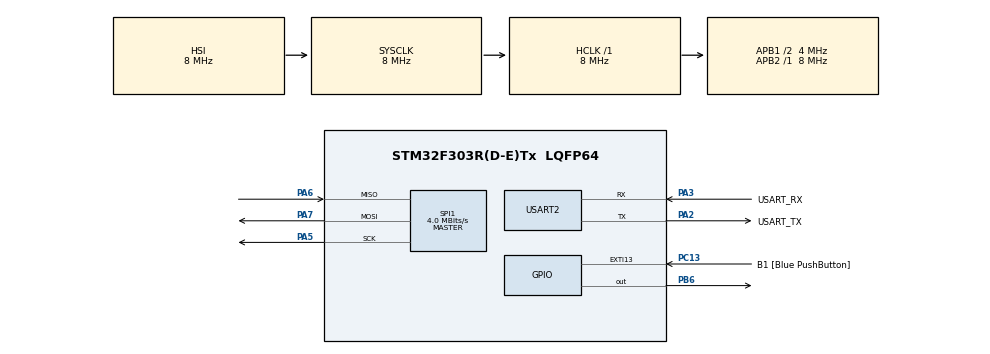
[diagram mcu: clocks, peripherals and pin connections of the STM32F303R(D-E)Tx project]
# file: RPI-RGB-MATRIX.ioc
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Mcu.Family=STM32F3
Mcu.Name=STM32F303R(D-E)Tx
Mcu.Package=LQFP64
NVIC.PriorityGroup=NVIC_PRIORITYGROUP_0
PA13.GPIO_Label=TMS
PA13.Mode=Serial_Wire
PA13.Signal=SYS_JTMS-SWDIO
PA14.GPIO_Label=TCK
PA14.Mode=Serial_Wire
PA14.Signal=SYS_JTCK-SWCLK
PA2.GPIO_Label=USART_TX
PA2.GPIO_Mode=GPIO_MODE_AF_PP
PA2.GPIO_PuPd=GPIO_NOPULL
PA2.GPIO_Speed=GPIO_SPEED_FREQ_LOW
PA2.Mode=Asynchronous
PA2.Signal=USART2_TX
PA3.GPIO_Label=USART_RX
PA3.GPIO_Mode=GPIO_MODE_AF_PP
PA3.GPIO_PuPd=GPIO_NOPULL
PA3.GPIO_Speed=GPIO_SPEED_FREQ_LOW
PA3.Mode=Asynchronous
PA3.Signal=USART2_RX
PA5.Mode=Full_Duplex_Master
PA5.Signal=SPI1_SCK
PA6.Mode=Full_Duplex_Master
PA6.Signal=SPI1_MISO
PA7.Mode=Full_Duplex_Master
PA7.Signal=SPI1_MOSI
PB3.GPIO_Label=SWO
PB3.Signal=SYS_JTDO-TRACESWO
PB6.Signal=GPIO_Output
PC13.GPIO_Label=B1 [Blue PushButton]
PC13.GPIO_ModeDefaultEXTI=GPIO_MODE_IT_FALLING
PC13.Signal=GPXTI13
PC14-OSC32_IN.Mode=LSE-External-Oscillator
PC14-OSC32_IN.Signal=RCC_OSC32_IN
PC15-OSC32_OUT.Mode=LSE-External-Oscillator
PC15-OSC32_OUT.Signal=RCC_OSC32_OUT
PF0-OSC_IN.Mode=HSE-External-Clock-Source
PF0-OSC_IN.Signal=RCC_OSC_IN
PF1-OSC_OUT.Signal=RCC_OSC_OUT
ProjectManager.HeapSize=0x200
ProjectManager.StackSize=0x400
ProjectManager.TargetToolchain=SW4STM32
RCC.AHBFreq_Value=8000000
RCC.APB1CLKDivider=RCC_HCLK_DIV2
RCC.APB1Freq_Value=4000000
RCC.APB1TimFreq_Value=8000000
RCC.APB2Freq_Value=8000000
RCC.APB2TimFreq_Value=8000000
RCC.CortexFreq_Value=8000000
RCC.HCLKFreq_Value=8000000
RCC.HSE_VALUE=8000000
RCC.HSI_VALUE=8000000
RCC.PLLM=8
RCC.PLLMUL=RCC_PLL_MUL9
RCC.PLLN=336
RCC.PLLP=RCC_PLLP_DIV4
RCC.PLLQ=7
RCC.RCC_PLLsource_Clock_Source_FROM_HSE=RCC_HSE_PREDIV_DIV2
RCC.SYSCLKFreq_VALUE=8000000
RCC.USBFreq_Value=72000000
SPI1.BaudRatePrescaler=SPI_BAUDRATEPRESCALER_2
SPI1.CalculateBaudRate=4.0 MBits/s
SPI1.DataSize=SPI_DATASIZE_8BIT
SPI1.Direction=SPI_DIRECTION_2LINES
SPI1.Mode=SPI_MODE_MASTER
SPI1.VirtualType=VM_MASTER
USART2.VirtualMode-Asynchronous=VM_ASYNC
board=NUCLEO-F303RE

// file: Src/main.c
/* USER CODE BEGIN Header */
/**
  ******************************************************************************
  * @file           : main.c
  * @brief          : Main program body
  ******************************************************************************
  * @attention
  *
  * <h2><center>&copy; Copyright (c) 2019 STMicroelectronics.
  * All rights reserved.</center></h2>
  *
  * This software component is licensed by ST under BSD 3-Clause license,
  * the "License"; You may not use this file except in compliance with the
  * License. You may obtain a copy of the License at:
  *                        opensource.org/licenses/BSD-3-Clause
  *
  ******************************************************************************
  */
/* USER CODE END Header */

#include "main.h"

SPI_HandleTypeDef hspi1;

UART_HandleTypeDef huart2;

void SystemClock_Config(void);
static void MX_GPIO_Init(void);
static void MX_SPI1_Init(void);
static void MX_USART2_UART_Init(void);

/* USER CODE BEGIN 0 */
unsigned char A[] = {0b10001000,0b10001000,0b10001000,0b10001000,0b11111000,0b10001000,0b10001000,0b01110000};
unsigned char B[] = {0b11111000,0b10001000,0b10001000,0b10001000,0b11110000,0b10001000,0b10001000,0b01111000};
unsigned char C[] = {0b01111000,0b10000000,0b10000000,0b10000000,0b10000000,0b10000000,0b10000000,0b01111000};
unsigned char D[] = {0b11110000,0b10001000,0b10001000,0b10001000,0b10001000,0b10001000,0b10001000,0b11110000};
unsigned char E[] = {0b11111000,0b10000000,0b10000000,0b10000000,0b11110000,0b10000000,0b10000000,0b11111000};
unsigned char F[] = {0b10000000,0b10000000,0b10000000,0b10000000,0b11110000,0b10000000,0b10000000,0b11111000};
unsigned char G[] = {0b01110000,0b10001000,0b10001000,0b10001000,0b10110000,0b10000000,0b10000000,0b01111000};
unsigned char H[] = {0b10001000,0b10001000,0b10001000,0b10001000,0b11111000,0b10001000,0b10001000,0b10001000};
unsigned char I[] = {0b11111000,0b00100000,0b00100000,0b00100000,0b00100000,0b00100000,0b00100000,0b11111000};
unsigned char J[] = {0b11100000,0b00010000,0b00010000,0b00010000,0b00010000,0b00010000,0b00010000,0b00111000};
unsigned char K[] = {0b10001000,0b10010000,0b10100000,0b11000000,0b11000000,0b10100000,0b10010000,0b10001000};
unsigned char L[] = {0b11111000,0b10000000,0b10000000,0b10000000,0b10000000,0b10000000,0b10000000,0b10000000};
unsigned char M[] = {0b10001000,0b10001000,0b10001000,0b10001000,0b10101000,0b10101000,0b11011000,0b10001000};
unsigned char N[] = {0b10001000,0b10001000,0b10001000,0b10001000,0b10011000,0b10101000,0b11001000,0b10001000};
unsigned char O[] = {0b01110000,0b10001000,0b10001000,0b10001000,0b10001000,0b10001000,0b10001000,0b01110000};
unsigned char P[] = {0b10000000,0b10000000,0b10000000,0b10000000,0b11110000,0b10001000,0b10001000,0b11110000};
unsigned char Q[] = {0b00001000,0b01110000,0b10001000,0b10001000,0b10001000,0b10001000,0b10001000,0b01110000};
unsigned char R[] = {0b10001000,0b10010000,0b10100000,0b11000000,0b11110000,0b10010000,0b10010000,0b11110000};
unsigned char S[] = {0b01110000,0b10001000,0b00001000,0b00001000,0b01110000,0b10000000,0b10001000,0b01110000};
unsigned char T[] = {0b00100000,0b00100000,0b00100000,0b00100000,0b00100000,0b00100000,0b00100000,0b11111000};
unsigned char U[] = {0b01110000,0b10001000,0b10001000,0b10001000,0b10001000,0b10001000,0b10001000,0b10001000};
unsigned char V[] = {0b00100000,0b01010000,0b10001000,0b10001000,0b10001000,0b10001000,0b10001000,0b10001000};
unsigned char W[] = {0b01010000,0b10101000,0b10101000,0b10001000,0b10001000,0b10001000,0b10001000,0b10001000};
unsigned char X[] = {0b00000000,0b00000000,0b10001000,0b01010000,0b00100000,0b01010000,0b10001000,0b00000000};
unsigned char Y[] = {0b01110000,0b10001000,0b00001000,0b00001000,0b01111000,0b10001000,0b10001000,0b10001000};
unsigned char Z[] = {0b11111000,0b10000000,0b10000000,0b01000000,0b00100000,0b00010000,0b00001000,0b11111000};
unsigned char ONE[] = {0b11111000,0b00100000,0b00100000,0b00100000,0b00100000,0b10100000,0b01100000,0b00100000};
unsigned char TWO[] = {0b11111000,0b10000000,0b01000000,0b00100000,0b00010000,0b00001000,0b10001000,0b01110000};
unsigned char THREE[] = {0b01110000,0b10001000,0b00001000,0b00001000,0b01110000,0b00001000,0b10001000,0b01110000};
unsigned char FOUR[] = {0b00010000,0b00010000,0b00010000,0b11111000,0b10010000,0b01010000,0b00110000,0b00010000};
unsigned char FIVE[] = {0b01110000,0b10001000,0b00001000,0b00001000,0b11110000,0b10000000,0b10000000,0b11111000};
unsigned char SIX[] = {0b01110000,0b10001000,0b10001000,0b10001000,0b11110000,0b10000000,0b10001000,0b01110000};
unsigned char SEVEN[] = {0b00100000,0b00100000,0b00100000,0b00100000,0b00100000,0b00010000,0b00001000,0b11111000};
unsigned char EIGHT[] = {0b01110000,0b10001000,0b10001000,0b10001000,0b01110000,0b10001000,0b10001000,0b01110000};
unsigned char NINE[] = {0b01110000,0b10001000,0b00001000,0b01111000,0b10001000,0b10001000,0b10001000,0b01110000};
unsigned char ZERO[] = {0b01110000,0b10001000,0b10001000,0b10001000,0b11001000,0b10101000,0b10011000,0b01110000};
unsigned char SMILE[] = {0b01110000,0b10001000,0b10001000,0b00100000,0b00100000,0b0000000,0b01010000,0b00000000};
unsigned char EYELEFT[] = {0b00000000,0b00000000,0b00010000,0b00110000,0b00110000,0b00110000,0b00000000,0b00000000};
unsigned char EYELEFTUP[] = {0b00000000,0b00000000,0b00000000,0b00010000,0b00110000,0b00110000,0b00110000,0b00000000};
unsigned char EYERIGHTUP[] = {0b00000000,0b00000000,0b00000000,0b00100000,0b01100000,0b01100000,0b01100000,0b00000000};
unsigned char EYERIGHT[] = {0b00000000,0b00000000,0b00100000,0b01100000,0b01100000,0b01100000,0b00000000,0b00000000};
unsigned char EYERIGHTDOWN[] = {0b00000000,0b00100000,0b01100000,0b01100000,0b01100000,0b00000000,0b00000000,0b00000000};
unsigned char EYELEFTDOWN[] = {0b00000000,0b00010000,0b00110000,0b00110000,0b00110000,0b00000000,0b00000000,0b00000000};
unsigned char TREE[] = {0b00011000,0b00011000,0b00011000,0b00011000,0b11111111,0b01111110,0b00111100,0b00011000};
unsigned char BIGHART[] = {0b00011000,0b00111100,0b011111110,0b11111111,0b11111111,0b11111111,0b01100110,0b00000000};
unsigned char MIDHART[] = {0b00000000,0b00011000,0b01111110,0b01111110,0b01111110,0b00100100,0b00000000,0b00000000};
unsigned char MIDSMALLHART[] = {0b00000000,0b00000000,0b00011000,0b00111100,0b00111100,0b00100100,0b00000000,0b00000000};
unsigned char SMALLHART[] = {0b00000000,0b00000000,0b00000000,0b00011000,0b00011000,0b00000000,0b00000000,0b00000000};
unsigned char *Alphabet[] = {A, B, C, D, E, F, G, H, I, J, K, L, M, N, O, P, Q, R, S, T, U, V, W, X, Y, Z};
unsigned char *Numeric[] = {ZERO, ONE,TWO, THREE, FOUR, FIVE, SIX, SEVEN, EIGHT, NINE};
unsigned char AlphabetCharactersLower[] = {'a', 'b', 'c', 'd', 'e', 'f', 'g', 'h', 'i', 'j', 'k', 'l', 'm', 'n', 'o', 'p', 'q', 'r', 's', 't', 'u', 'v', 'w', 'x', 'y', 'z'};
void WriteWord(char* Word[],int arrSize);
void tree();
void EYE();
void HARTBIT();
void Write2Word(char* Word[],char* Word2[],int arrSize);
static uint8_t data[4] = {0x0, 0x0, 0x0, 0x0};  // defined a data matrix

/* USER CODE END 0 */

int main(void)
{

  /* MCU Configuration--------------------------------------------------------*/

  /* Reset of all peripherals, Initializes the Flash interface and the Systick. */
  HAL_Init();

  /* Configure the system clock */
  SystemClock_Config();

  /* Initialize all configured peripherals */
  MX_GPIO_Init();
  MX_SPI1_Init();
  MX_USART2_UART_Init();

  /* Infinite loop */
  while (1)
  {
	  unsigned char* w[10] = {N,Y,TWO,ZERO};
	  //unsigned char* w2[10] = {EYELEFT,EYELEFTUP,EYERIGHTUP,EYERIGHT,EYERIGHTDOWN,EYELEFTDOWN};
	  HARTBIT();
  }
}
void EYE()
{
	unsigned char* w[10] = {O,O,O,O,O,O};
	unsigned char* w2[10] = {EYELEFT,EYELEFTUP,EYERIGHTUP,EYERIGHT,EYERIGHTDOWN,EYELEFTDOWN};
	for(int j=0;j<6;j++)
	  {
	    for(int z=0;z<500;z++)
	    {
	      for (int i = 0; i < 8; i++)
	      {

	          data[0] =~0;
	          data[1] =~w[j][i];        // color blue
	          data[2] =~w2[j][i];

	        data[3] = 0x1<<i;
	        HAL_GPIO_WritePin(GPIOB, GPIO_PIN_6, GPIO_PIN_RESET);
	              HAL_SPI_Transmit(&hspi1,&data[0],1,10);
	              HAL_SPI_Transmit(&hspi1,&data[1],1,10);
	              HAL_SPI_Transmit(&hspi1,&data[2],1,10);
	              HAL_SPI_Transmit(&hspi1,&data[3],1,10);
	              HAL_GPIO_WritePin(GPIOB, GPIO_PIN_6, GPIO_PIN_SET);
	        //delay(100);
	      }
	    }
	  }
}
void Write2Word(char* Word[],char* Word2[],int arrSize)
{
  for(int j=0;j<arrSize;j++)
  {
    for(int z=0;z<500;z++)
    {
      for (int i = 0; i < 8; i++)
      {

          data[0] =~0;
          data[1] =~Word[j][i];        // color blue
          data[2] =~Word2[j][i];

        data[3] = 0x1<<i;
        HAL_GPIO_WritePin(GPIOB, GPIO_PIN_6, GPIO_PIN_RESET);
              HAL_SPI_Transmit(&hspi1,&data[0],1,10);
              HAL_SPI_Transmit(&hspi1,&data[1],1,10);
              HAL_SPI_Transmit(&hspi1,&data[2],1,10);
              HAL_SPI_Transmit(&hspi1,&data[3],1,10);
              HAL_GPIO_WritePin(GPIOB, GPIO_PIN_6, GPIO_PIN_SET);
        //delay(100);
      }
    }
  }
}
void HARTBIT()
{
	unsigned char* w[10] = {SMALLHART,MIDSMALLHART,MIDHART,BIGHART};
  for(int j=0;j<4;j++)
  {

	  for(int z=0;z<300;z++)
	     {
      for (int i = 0; i < 8; i++)
      {

          data[0] =~w[j][i];
          data[1] =~0;        // color blue
          data[2] =~0;

        data[3] = 0x1<<i;
        HAL_GPIO_WritePin(GPIOB, GPIO_PIN_6, GPIO_PIN_RESET);
        HAL_SPI_Transmit(&hspi1,&data[0],1,10);
        HAL_SPI_Transmit(&hspi1,&data[1],1,10);
        HAL_SPI_Transmit(&hspi1,&data[2],1,10);
        HAL_SPI_Transmit(&hspi1,&data[3],1,10);
        HAL_GPIO_WritePin(GPIOB, GPIO_PIN_6, GPIO_PIN_SET);
        //delay(100);
      }
	     }
  }
}
void tree()
{
	unsigned char* w[10] = {TREE};
  for(int j=0;j<1;j++)
  {

      for (int i = 0; i < 8; i++)
      {

          data[0] =~0;
          data[1] =~0;        // color blue
          data[2] =~w[j][i];

        data[3] = 0x1<<i;
        HAL_GPIO_WritePin(GPIOB, GPIO_PIN_6, GPIO_PIN_RESET);
        HAL_SPI_Transmit(&hspi1,&data[0],1,10);
        HAL_SPI_Transmit(&hspi1,&data[1],1,10);
        HAL_SPI_Transmit(&hspi1,&data[2],1,10);
        HAL_SPI_Transmit(&hspi1,&data[3],1,10);
        HAL_GPIO_WritePin(GPIOB, GPIO_PIN_6, GPIO_PIN_SET);
        //delay(100);
      }

  }
}
void WriteWord(char* Word[],int arrSize)
{
  for(int j=0;j<arrSize;j++)
  {
    for(int z=0;z<500;z++)
    {
      for (int i = 0; i < 8; i++)
      {

          data[0] =~0;
          data[1] =~Word[j][i];        // color blue
          data[2] =~0;

        data[3] = 0x1<<i;
        HAL_GPIO_WritePin(GPIOB, GPIO_PIN_6, GPIO_PIN_RESET);
        HAL_SPI_Transmit(&hspi1,&data[0],1,10);
        HAL_SPI_Transmit(&hspi1,&data[1],1,10);
        HAL_SPI_Transmit(&hspi1,&data[2],1,10);
        HAL_SPI_Transmit(&hspi1,&data[3],1,10);
        HAL_GPIO_WritePin(GPIOB, GPIO_PIN_6, GPIO_PIN_SET);
        //delay(100);
      }
    }
  }
}
void SystemClock_Config(void)
{
  RCC_OscInitTypeDef RCC_OscInitStruct = {0};
  RCC_ClkInitTypeDef RCC_ClkInitStruct = {0};
  RCC_PeriphCLKInitTypeDef PeriphClkInit = {0};

  /** Initializes the CPU, AHB and APB busses clocks
  */
  RCC_OscInitStruct.OscillatorType = RCC_OSCILLATORTYPE_HSI;
  RCC_OscInitStruct.HSIState = RCC_HSI_ON;
  RCC_OscInitStruct.HSICalibrationValue = RCC_HSICALIBRATION_DEFAULT;
  RCC_OscInitStruct.PLL.PLLState = RCC_PLL_NONE;
  if (HAL_RCC_OscConfig(&RCC_OscInitStruct) != HAL_OK)
  {
    Error_Handler();
  }
  /** Initializes the CPU, AHB and APB busses clocks
  */
  RCC_ClkInitStruct.ClockType = RCC_CLOCKTYPE_HCLK|RCC_CLOCKTYPE_SYSCLK
                              |RCC_CLOCKTYPE_PCLK1|RCC_CLOCKTYPE_PCLK2;
  RCC_ClkInitStruct.SYSCLKSource = RCC_SYSCLKSOURCE_HSI;
  RCC_ClkInitStruct.AHBCLKDivider = RCC_SYSCLK_DIV1;
  RCC_ClkInitStruct.APB1CLKDivider = RCC_HCLK_DIV2;
  RCC_ClkInitStruct.APB2CLKDivider = RCC_HCLK_DIV1;

  if (HAL_RCC_ClockConfig(&RCC_ClkInitStruct, FLASH_LATENCY_0) != HAL_OK)
  {
    Error_Handler();
  }
  PeriphClkInit.PeriphClockSelection = RCC_PERIPHCLK_USART2;
  PeriphClkInit.Usart2ClockSelection = RCC_USART2CLKSOURCE_PCLK1;
  if (HAL_RCCEx_PeriphCLKConfig(&PeriphClkInit) != HAL_OK)
  {
    Error_Handler();
  }
}

static void MX_SPI1_Init(void)
{

  /* SPI1 parameter configuration*/
  hspi1.Instance = SPI1;
  hspi1.Init.Mode = SPI_MODE_MASTER;
  hspi1.Init.Direction = SPI_DIRECTION_2LINES;
  hspi1.Init.DataSize = SPI_DATASIZE_8BIT;
  hspi1.Init.CLKPolarity = SPI_POLARITY_LOW;
  hspi1.Init.CLKPhase = SPI_PHASE_1EDGE;
  hspi1.Init.NSS = SPI_NSS_SOFT;
  hspi1.Init.BaudRatePrescaler = SPI_BAUDRATEPRESCALER_2;
  hspi1.Init.FirstBit = SPI_FIRSTBIT_MSB;
  hspi1.Init.TIMode = SPI_TIMODE_DISABLE;
  hspi1.Init.CRCCalculation = SPI_CRCCALCULATION_DISABLE;
  hspi1.Init.CRCPolynomial = 7;
  hspi1.Init.CRCLength = SPI_CRC_LENGTH_DATASIZE;
  hspi1.Init.NSSPMode = SPI_NSS_PULSE_ENABLE;
  if (HAL_SPI_Init(&hspi1) != HAL_OK)
  {
    Error_Handler();
  }

}

static void MX_USART2_UART_Init(void)
{

  huart2.Instance = USART2;
  huart2.Init.BaudRate = 38400;
  huart2.Init.WordLength = UART_WORDLENGTH_8B;
  huart2.Init.StopBits = UART_STOPBITS_1;
  huart2.Init.Parity = UART_PARITY_NONE;
  huart2.Init.Mode = UART_MODE_TX_RX;
  huart2.Init.HwFlowCtl = UART_HWCONTROL_NONE;
  huart2.Init.OverSampling = UART_OVERSAMPLING_16;
  huart2.Init.OneBitSampling = UART_ONE_BIT_SAMPLE_DISABLE;
  huart2.AdvancedInit.AdvFeatureInit = UART_ADVFEATURE_NO_INIT;
  if (HAL_UART_Init(&huart2) != HAL_OK)
  {
    Error_Handler();
  }

}

static void MX_GPIO_Init(void)
{
  GPIO_InitTypeDef GPIO_InitStruct = {0};

  /* GPIO Ports Clock Enable */
  __HAL_RCC_GPIOC_CLK_ENABLE();
  __HAL_RCC_GPIOF_CLK_ENABLE();
  __HAL_RCC_GPIOA_CLK_ENABLE();
  __HAL_RCC_GPIOB_CLK_ENABLE();

  /*Configure GPIO pin Output Level */
  HAL_GPIO_WritePin(GPIOB, GPIO_PIN_6, GPIO_PIN_RESET);

  /*Configure GPIO pin : B1_Pin */
  GPIO_InitStruct.Pin = B1_Pin;
  GPIO_InitStruct.Mode = GPIO_MODE_IT_FALLING;
  GPIO_InitStruct.Pull = GPIO_NOPULL;
  HAL_GPIO_Init(B1_GPIO_Port, &GPIO_InitStruct);

  /*Configure GPIO pin : PB6 */
  GPIO_InitStruct.Pin = GPIO_PIN_6;
  GPIO_InitStruct.Mode = GPIO_MODE_OUTPUT_PP;
  GPIO_InitStruct.Pull = GPIO_NOPULL;
  GPIO_InitStruct.Speed = GPIO_SPEED_FREQ_LOW;
  HAL_GPIO_Init(GPIOB, &GPIO_InitStruct);

}

void Error_Handler(void)
{
}

/************************ (C) COPYRIGHT STMicroelectronics *****END OF FILE****/
